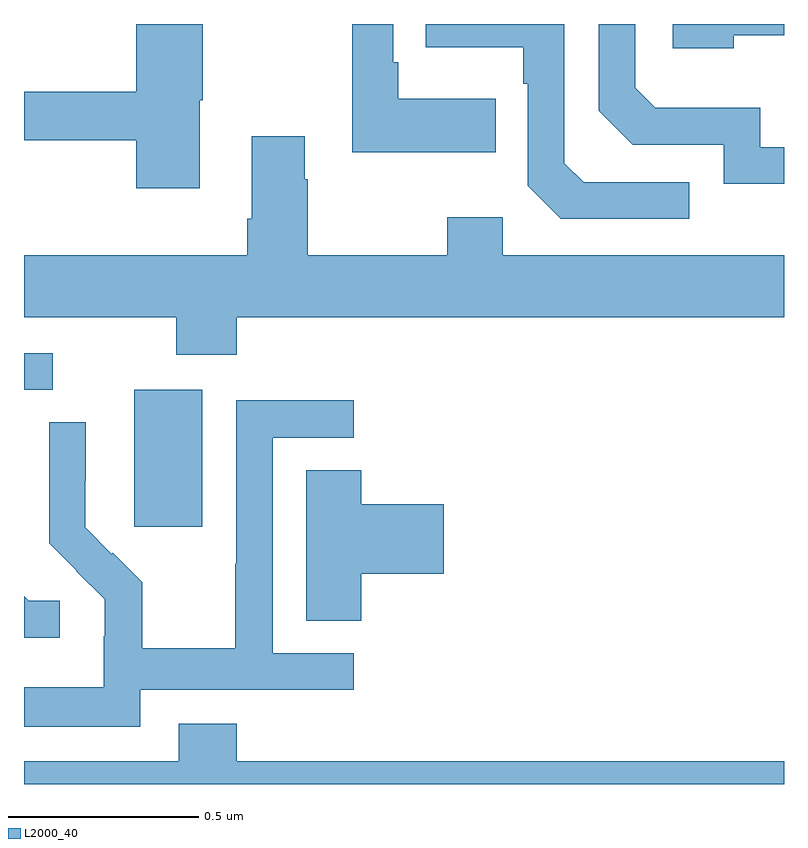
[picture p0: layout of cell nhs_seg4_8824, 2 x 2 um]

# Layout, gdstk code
import gdstk
lib = gdstk.Library(unit=1e-6, precision=1e-09)
def R(c, l, rs):  # rectangles x0, y0, x1, y1
    for r in rs: c.add(gdstk.rectangle(r[:2], r[2:], *l))
def P(c, l, *ps):  # polygons
    for p in ps: c.add(gdstk.Polygon(p, *l))
L2000_40 = (2000, 40)

nhs_seg4_8824 = lib.new_cell('nhs_seg4_8824')
R(nhs_seg4_8824, L2000_40, [(219.29,821.577,219.469,821.938), (219,821.937,219.076,822.033)])
P(nhs_seg4_8824, L2000_40, [(220.75,822.483),(220.473,822.483),(220.422,822.534),(220.422,822.9),(220.057,822.9),(220.057,822.839),(220.314,822.839),(220.314,822.743),(220.326,822.743),(220.326,822.474),(220.413,822.387),(220.75,822.387)],
  [(219.463,822.699),(219.471,822.699),(219.471,822.9),(219.296,822.9),(219.296,822.722),(219,822.722),(219,822.594),(219.296,822.594),(219.296,822.468),(219.463,822.468)],
  [(220.241,822.703),(219.985,822.703),(219.985,822.799),(219.972,822.799),(219.972,822.9),(219.864,822.9),(219.864,822.563),(220.241,822.563)],
  [(221,822.576),(220.938,822.576),(220.938,822.679),(220.661,822.679),(220.608,822.732),(220.608,822.9),(220.512,822.9),(220.512,822.672),(220.602,822.582),(220.842,822.582),(220.842,822.48),(221,822.48)],
  [(220.868,822.87),(221,822.87),(221,822.9),(220.707,822.9),(220.707,822.836),(220.868,822.836)],
  [(219.56,822.128),(221,822.128),(221,822.292),(220.26,822.292),(220.26,822.391),(220.114,822.391),(220.114,822.292),(219.747,822.292),(219.747,822.491),(219.739,822.491),(219.739,822.604),(219.599,822.604),(219.599,822.388),(219.587,822.388),(219.587,822.292),(219,822.292),(219,822.128),(219.4,822.128),(219.4,822.029),(219.56,822.029)],
  [(219.306,821.148),(219.868,821.148),(219.868,821.244),(219.654,821.244),(219.654,821.811),(219.868,821.811),(219.868,821.91),(219.558,821.91),(219.558,821.48),(219.556,821.48),(219.556,821.257),(219.311,821.257),(219.311,821.431),(219.234,821.508),(219.231,821.505),(219.161,821.576),(219.161,821.698),(219.162,821.698),(219.162,821.852),(219.066,821.852),(219.066,821.534),(219.139,821.461),(219.138,821.46),(219.212,821.386),(219.212,821.289),(219.21,821.289),(219.21,821.155),(219,821.155),(219,821.051),(219.306,821.051)],
  [(219.887,821.453),(220.105,821.453),(220.105,821.636),(219.887,821.636),(219.887,821.726),(219.743,821.726),(219.743,821.329),(219.887,821.329)],
  [(219.094,821.382),(219.012,821.382),(219,821.394),(219,821.285),(219.094,821.285)],
  [(221,820.96),(219.56,820.96),(219.56,821.059),(219.407,821.059),(219.407,820.96),(219,820.96),(219,820.9),(221,820.9)])

lib.write_gds('nhs_seg4_8824.gds')
